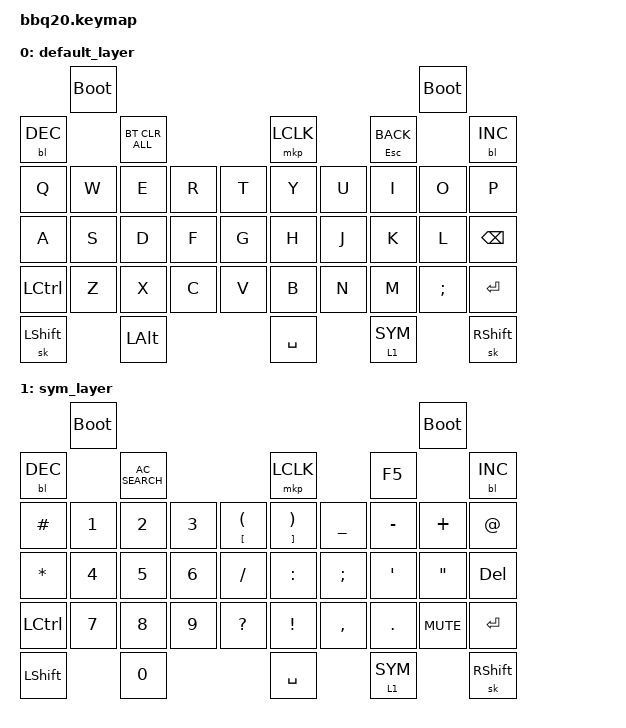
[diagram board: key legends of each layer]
/*
 * Copyright (c) 2023 ZitaoTech
 *
 * SPDX-License-Identifier: MIT
 */
 
 /*
 * Tristan's Custom Keymap Edit, v5 - making sym button tap (emoji list) and hold (symbol layer) / 
 */
 
#include <behaviors.dtsi>
#include <dt-bindings/zmk/keys.h>
#include <dt-bindings/zmk/bt.h>
#include <dt-bindings/zmk/outputs.h>
#include <dt-bindings/zmk/mouse.h>
#include <dt-bindings/zmk/backlight.h>
#include <dt-bindings/zmk/ext_power.h>

   
#define SYM 1
#define UPPER 2



/ {

	macros {
        emojimenu: emojimenu {
            compatible = "zmk,behavior-macro";
            #binding-cells = <0>;
            bindings
                = <&macro_press &kp LALT>
                , <&macro_tap &kp PERIOD>
                , <&macro_release &kp LALT>
                ;
        };
    };

    behaviors {
        td0: tap_dance_0 {
            compatible = "zmk,behavior-tap-dance";
            #binding-cells = <0>;
            tapping-term-ms = <400>;
            bindings = <&mkp LCLK>, <&bt BT_CLR>;
        };
    };
	
    behaviors {
        customlt: custom_layer_tap {
            compatible = "zmk,behavior-hold-tap";
            #binding-cells = <2>;
            flavor = "hold-preferred";
            tapping-term-ms = <200>;
            bindings = <&mo>, <&emojimenu>;
        };
    };

    keymap {
        compatible = "zmk,keymap";

        default_layer {

            bindings = <
//         --------------------------------------------------------------------------------------------------------------------------         
//         |    Shoulder Key1    |                                                                             |    Shoulder Key2    |     
// |         Call key      |      Blackberry Key        |    Trackpad    |             Back Key                |             Endcall Key          |
// |     Q      |     W    |     E    |     R    |      T      |       Y        |       U        |        I        |       O      |      P        |     
// |     A      |     S    |     D    |     F    |      G      |       H        |       J        |        K        |       L      |      ←        |  
// |     alt    |     Z    |     X    |     C    |      V      |       B        |       N        |        M        |       $      |    Enter      |   
//        |         aA     |         0           |           SPACE              |         SYM         |        aA          |       
//        -----------------------------------------------------------------------------------------------------------------

                 &bootloader                                                                                        &bootloader
    &bl BL_DEC              &bt BT_CLR_ALL                      &mkp LCLK                          &mt ESC K_BACK                    &bl BL_INC
    &kp Q        &kp W      &kp E       &kp R     &kp T         &kp Y             &kp U            &kp I            &kp O            &kp P
    &kp A        &kp S      &kp D       &kp F     &kp G         &kp H             &kp J            &kp K            &kp L            &kp BSPC
    &kp LCTRL    &kp Z      &kp X       &kp C     &kp V         &kp B             &kp N            &kp M            &kp SEMI         &kp ENTER
    &sk LSHFT               &kp LALT                            &kp SPACE                          &customlt 1 SYM                   &sk RSHFT
            >;
        };


        sym_layer {

            bindings = <        
                 &bootloader                                                                                        &bootloader
    &bl BL_DEC              &kp C_AC_SEARCH                     &mkp LCLK                          &kp F5                            &bl BL_INC 
    &kp HASH     &kp N1     &kp N2      &kp N3    &mt LBKT LPAR &mt RBKT RPAR     &kp UNDER        &kp MINUS        &kp PLUS         &kp AT
    &kp STAR     &kp N4     &kp N5      &kp N6    &kp SLASH     &kp COLON         &kp SEMI         &kp APOS         &kp DQT          &kp DEL
    &kp LCTRL    &kp N7     &kp N8      &kp N9    &kp QMARK     &kp EXCL          &kp COMMA        &kp DOT          &kp C_MUTE       &kp ENTER
    &kp LSHFT               &kp N0                              &kp SPACE                          &customlt 1 SYM                   &sk RSHFT
            >;
        };
    };
};

